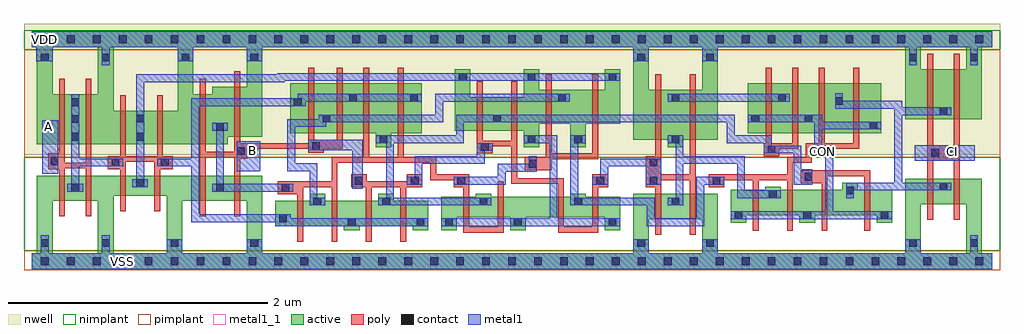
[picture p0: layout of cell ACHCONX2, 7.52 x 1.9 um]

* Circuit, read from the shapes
.subckt ACHCONX2 A B CI CON VDD VSS
M1 n1 A VSS VSS nfet w=0.195u l=0.045u m=2
M2 n2 n1 VSS VSS nfet w=0.155u l=0.045u m=2
M3 n3 B VSS VSS nfet w=0.195u l=0.045u m=2
M4 n4 n3 n1 VSS nfet w=0.195u l=0.045u m=2
M5 n5 B n1 VSS nfet w=0.195u l=0.045u m=2
M6 n5 n3 n2 VSS nfet w=0.155u l=0.045u m=2
M7 n4 B n2 VSS nfet w=0.155u l=0.045u m=2
M8 n6 B VSS VSS nfet w=0.195u l=0.045u m=2
M9 n6 n4 CON VSS nfet w=0.195u l=0.045u m=2
M10 n7 n5 CON VSS nfet w=0.195u l=0.045u m=2
M11 n7 CI VSS VSS nfet w=0.195u l=0.045u m=2
M12 n1 A VDD VDD pfet w=0.385u l=0.045u m=2
M13 n2 n1 VDD VDD pfet w=0.26u l=0.045u m=2
M14 n3 B VDD VDD pfet w=0.385u l=0.045u m=2
M15 n4 B n1 VDD pfet w=0.385u l=0.045u m=2
M16 n5 n3 n1 VDD pfet w=0.385u l=0.045u m=2
M17 n5 B n2 VDD pfet w=0.26u l=0.045u m=2
M18 n4 n3 n2 VDD pfet w=0.26u l=0.045u m=2
M19 n6 B VDD VDD pfet w=0.385u l=0.045u m=2
M20 n6 n5 CON VDD pfet w=0.385u l=0.045u m=2
M21 n7 n4 CON VDD pfet w=0.385u l=0.045u m=2
M22 n7 CI VDD VDD pfet w=0.385u l=0.045u m=2
.ends

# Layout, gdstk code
import gdstk
lib = gdstk.Library(unit=1e-6, precision=5e-10)
def R(c, l, rs):  # rectangles x0, y0, x1, y1
    for r in rs: c.add(gdstk.rectangle(r[:2], r[2:], *l))
def A(c, l, x, y, w, h, nx, ny, dx, dy):  # array of equal rectangles
    R(c, l, [(x+i*dx, y+j*dy, x+i*dx+w, y+j*dy+h) for i in range(nx) for j in range(ny)])
def P(c, l, *ps):  # polygons
    for p in ps: c.add(gdstk.Polygon(p, *l))
active = (1, 0)
nwell = (2, 0)
poly = (3, 0)
nimplant = (4, 0)
pimplant = (5, 0)
contact = (6, 0)
metal1 = (7, 0)
metal1_1 = (7, 1)

achconx2 = lib.new_cell('ACHCONX2')
R(achconx2, active, [(5.515,0.985,6.545,1.37)])
P(achconx2, active, [(0,1.77),(7.4,1.77),(7.4,1.65),(7.32,1.65),(7.32,1.095),(6.73,1.095),(6.73,1.65),(6.85,1.65),(6.85,1.48),(7.2,1.48),(7.2,1.65),(5.285,1.65),(5.285,0.935),(5.02,0.935),(5.02,0.88),(4.9,0.88),(4.9,0.935),(4.635,0.935),(4.635,1.65),(4.755,1.65),(4.755,1.32),(5.165,1.32),(5.165,1.65),(1.775,1.65),(1.775,0.96),(1.51,0.96),(1.51,0.9),(0.04,0.9),(0.04,1.65),(0.16,1.65),(0.16,1.285),(0.51,1.285),(0.51,1.65),(0.63,1.65),(0.63,1.16),(1.125,1.16),(1.125,1.65),(1.245,1.65),(1.245,1.285),(1.39,1.285),(1.39,1.345),(1.655,1.345),(1.655,1.65),(0,1.65)],
  [(1.99,1.37),(3.005,1.37),(3.005,0.985),(2.77,0.985),(2.77,0.88),(2.65,0.88),(2.65,0.985),(1.99,0.985)],
  [(3.26,1.48),(3.38,1.48),(3.38,1.265),(3.79,1.265),(3.79,1.48),(3.91,1.48),(3.91,1.32),(4.415,1.32),(4.415,1.48),(4.535,1.48),(4.535,1.06),(4.27,1.06),(4.27,0.88),(4.15,0.88),(4.15,1.06),(3.91,1.06),(3.91,0.88),(3.79,0.88),(3.79,1.005),(3.26,1.005)],
  [(0.04,0.66),(1.775,0.66),(1.775,0.06),(4.635,0.06),(4.635,0.325),(4.755,0.325),(4.755,0.06),(5.165,0.06),(5.165,0.325),(4.635,0.325),(4.635,0.52),(5.285,0.52),(5.285,0.06),(6.73,0.06),(6.73,0.44),(6.85,0.44),(6.85,0.06),(7.2,0.06),(7.2,0.44),(6.73,0.44),(6.73,0.635),(7.32,0.635),(7.32,0.06),(7.4,0.06),(7.4,-0.06),(0,-0.06),(0,0.06),(0.04,0.06),(0.04,0.465),(0.16,0.465),(0.16,0.06),(0.51,0.06),(0.51,0.465),(0.04,0.465),(0.04,0.505),(0.63,0.505),(0.63,0.06),(1.04,0.06),(1.04,0.465),(1.16,0.465),(1.16,0.06),(1.655,0.06),(1.655,0.465),(1.04,0.465),(1.04,0.505),(0.04,0.505)],
  [(2.14,0.52),(2.26,0.52),(2.26,0.465),(2.67,0.465),(2.67,0.52),(2.79,0.52),(2.79,0.465),(3.055,0.465),(3.055,0.24),(2.935,0.24),(2.935,0.27),(2.525,0.27),(2.525,0.24),(2.405,0.24),(2.405,0.27),(1.875,0.27),(1.875,0.465),(2.14,0.465)],
  [(5.65,0.575),(5.77,0.575),(5.77,0.55),(6.245,0.55),(6.245,0.605),(6.365,0.605),(6.365,0.55),(6.63,0.55),(6.63,0.295),(6.51,0.295),(6.51,0.355),(6.035,0.355),(6.035,0.295),(5.915,0.295),(5.915,0.355),(5.505,0.355),(5.505,0.295),(5.385,0.295),(5.385,0.55),(5.65,0.55)],
  [(3.42,0.52),(3.54,0.52),(3.54,0.495),(4.15,0.495),(4.15,0.52),(4.27,0.52),(4.27,0.495),(4.535,0.495),(4.535,0.24),(4.415,0.24),(4.415,0.34),(3.805,0.34),(3.805,0.24),(3.685,0.24),(3.685,0.34),(3.275,0.34),(3.275,0.24),(3.155,0.24),(3.155,0.495),(3.42,0.495)])
R(achconx2, nwell, [(-0.06,0.82,7.46,1.83)])
P(achconx2, poly, [(0.21,1.405),(0.255,1.405),(0.255,0.76),(0.415,0.76),(0.415,1.405),(0.46,1.405),(0.46,0.345),(0.415,0.345),(0.415,0.715),(0.255,0.715),(0.255,0.345),(0.21,0.345),(0.21,0.71),(0.125,0.71),(0.125,0.83),(0.21,0.83)],
  [(1.295,1.405),(1.34,1.405),(1.34,0.845),(1.56,0.845),(1.56,1.465),(1.605,1.465),(1.605,0.91),(2.13,0.91),(2.13,1.49),(2.175,1.49),(2.175,0.935),(2.35,0.935),(2.35,1.49),(2.395,1.49),(2.395,0.865),(2.25,0.865),(2.25,0.835),(2.13,0.835),(2.13,0.865),(1.66,0.865),(1.66,0.79),(1.605,0.79),(1.605,0.345),(1.56,0.345),(1.56,0.8),(1.34,0.8),(1.34,0.345),(1.295,0.345)],
  [(0.68,1.28),(0.725,1.28),(0.725,0.81),(0.965,0.81),(0.965,1.28),(1.01,1.28),(1.01,0.81),(1.085,0.81),(1.085,0.71),(0.99,0.71),(0.99,0.385),(0.945,0.385),(0.945,0.765),(0.725,0.765),(0.725,0.385),(0.68,0.385),(0.68,0.71),(0.585,0.71),(0.585,0.81),(0.68,0.81)],
  [(2.555,1.49),(2.6,1.49),(2.6,0.805),(2.82,0.805),(2.82,1.49),(2.865,1.49),(2.865,0.805),(3.115,0.805),(3.115,0.67),(3.37,0.67),(3.37,0.265),(3.59,0.265),(3.59,0.615),(3.635,0.615),(3.635,0.22),(3.325,0.22),(3.325,0.57),(3.25,0.57),(3.25,0.625),(3.07,0.625),(3.07,0.76),(2.355,0.76),(2.355,0.15),(2.31,0.15),(2.31,0.57),(2.09,0.57),(2.09,0.15),(2.045,0.15),(2.045,0.515),(1.895,0.515),(1.895,0.615),(2.31,0.615),(2.31,0.805),(2.555,0.805)],
  [(3.43,1.385),(3.475,1.385),(3.475,0.93),(3.695,0.93),(3.695,1.385),(3.74,1.385),(3.74,0.64),(4.1,0.64),(4.1,0.265),(4.32,0.265),(4.32,0.67),(4.44,0.67),(4.44,0.57),(4.365,0.57),(4.365,0.22),(4.055,0.22),(4.055,0.595),(3.695,0.595),(3.695,0.885),(3.55,0.885),(3.55,0.83),(3.43,0.83)],
  [(3.96,1.44),(4.005,1.44),(4.005,0.83),(4.32,0.83),(4.32,1.44),(4.365,1.44),(4.365,0.785),(4.005,0.785),(4.005,0.7),(3.8,0.7),(3.8,0.8),(3.96,0.8)],
  [(5.655,1.49),(5.7,1.49),(5.7,0.91),(5.86,0.91),(5.86,1.49),(5.905,1.49),(5.905,0.865),(5.76,0.865),(5.76,0.81),(5.64,0.81),(5.64,0.91),(5.655,0.91)],
  [(4.805,1.44),(4.85,1.44),(4.85,0.67),(5.07,0.67),(5.07,1.44),(5.115,1.44),(5.115,0.205),(5.07,0.205),(5.07,0.625),(4.85,0.625),(4.85,0.205),(4.805,0.205),(4.805,0.57),(4.73,0.57),(4.73,0.81),(4.805,0.81)],
  [(6.065,1.49),(6.11,1.49),(6.11,0.91),(6.33,0.91),(6.33,1.49),(6.375,1.49),(6.375,0.865),(6.01,0.865),(6.01,0.76),(5.865,0.76),(5.865,0.235),(5.82,0.235),(5.82,0.625),(5.6,0.625),(5.6,0.235),(5.555,0.235),(5.555,0.625),(5.335,0.625),(5.335,0.57),(5.215,0.57),(5.215,0.67),(5.82,0.67),(5.82,0.805),(5.965,0.805),(5.965,0.91),(6.065,0.91)],
  [(6.9,1.6),(6.945,1.6),(6.945,0.895),(7.105,0.895),(7.105,1.6),(7.15,1.6),(7.15,0.32),(7.105,0.32),(7.105,0.775),(6.945,0.775),(6.945,0.32),(6.9,0.32)],
  [(2.46,0.67),(2.58,0.67),(2.58,0.615),(2.89,0.615),(2.89,0.67),(3.01,0.67),(3.01,0.57),(2.885,0.57),(2.885,0.15),(2.84,0.15),(2.84,0.57),(2.62,0.57),(2.62,0.15),(2.575,0.15),(2.575,0.57),(2.46,0.57)],
  [(5.925,0.7),(6.46,0.7),(6.46,0.235),(6.415,0.235),(6.415,0.655),(6.13,0.655),(6.13,0.235),(6.085,0.235),(6.085,0.6),(5.925,0.6)])
R(achconx2, nimplant, [(-0.06,0.08,7.46,0.8), (-0.06,1.63,7.46,1.78)])
R(achconx2, pimplant, [(-0.06,-0.07,7.46,0.08), (-0.06,0.8,7.46,1.63)])
A(achconx2, contact, 0.07, -0.03, 0.06, 0.06, 37, 2, 0.2, 1.71)
R(achconx2, contact, [(0.07,0.11,0.13,0.17), (0.54,0.11,0.6,0.17), (1.07,0.11,1.13,0.17), (1.685,0.11,1.745,0.17), (4.665,0.11,4.725,0.17), (5.195,0.11,5.255,0.17), (6.76,0.11,6.82,0.17), (7.23,0.11,7.29,0.17), (2.435,0.27,2.495,0.33), (2.965,0.27,3.025,0.33), (3.185,0.27,3.245,0.33), (3.715,0.27,3.775,0.33), (4.445,0.27,4.505,0.33), (1.905,0.3,1.965,0.36), (5.415,0.325,5.475,0.385), (5.945,0.325,6.005,0.385), (6.54,0.325,6.6,0.385), (2.17,0.43,2.23,0.49), (2.7,0.43,2.76,0.49), (3.45,0.43,3.51,0.49), (4.18,0.43,4.24,0.49), (4.93,0.43,4.99,0.49), (5.68,0.485,5.74,0.545), (6.275,0.515,6.335,0.575), (0.305,0.535,0.365,0.595), (1.42,0.535,1.48,0.595), (1.925,0.535,1.985,0.595), (6.995,0.545,7.055,0.605), (0.805,0.57,0.865,0.63), (2.49,0.59,2.55,0.65), (2.92,0.59,2.98,0.65), (3.28,0.59,3.34,0.65), (4.35,0.59,4.41,0.65), (4.76,0.59,4.82,0.65), (5.245,0.59,5.305,0.65), (5.955,0.62,6.015,0.68), (3.83,0.72,3.89,0.78), (0.615,0.73,0.675,0.79), (0.995,0.73,1.055,0.79), (4.76,0.73,4.82,0.79), (0.145,0.74,0.205,0.8), (6.93,0.805,6.99,0.865), (7.07,0.805,7.13,0.865), (1.58,0.82,1.64,0.88), (5.67,0.83,5.73,0.89), (3.46,0.85,3.52,0.91), (2.16,0.855,2.22,0.915), (2.68,0.91,2.74,0.97), (3.82,0.91,3.88,0.97), (4.18,0.91,4.24,0.97), (4.93,0.91,4.99,0.97), (0.305,0.93,0.365,0.99), (0.805,0.93,0.865,0.99), (1.42,1.005,1.48,1.065), (6.455,1.015,6.515,1.075), (0.305,1.065,0.365,1.125), (0.805,1.07,0.865,1.13), (2.24,1.07,2.3,1.13), (3.555,1.07,3.615,1.13), (5.545,1.07,5.605,1.13), (5.955,1.07,6.015,1.13), (6.995,1.125,7.055,1.185), (0.305,1.195,0.365,1.255), (2.02,1.195,2.08,1.255), (6.19,1.205,6.25,1.265), (2.445,1.23,2.505,1.29), (2.915,1.23,2.975,1.29), (4.055,1.23,4.115,1.29), (4.93,1.23,4.99,1.29), (5.75,1.23,5.81,1.29), (3.29,1.39,3.35,1.45), (3.82,1.39,3.88,1.45), (4.445,1.39,4.505,1.45), (0.07,1.54,0.13,1.6), (0.54,1.54,0.6,1.6), (1.155,1.54,1.215,1.6), (1.685,1.54,1.745,1.6), (4.665,1.54,4.725,1.6), (5.195,1.54,5.255,1.6), (6.76,1.54,6.82,1.6), (7.23,1.54,7.29,1.6)])
R(achconx2, metal1, [(0.08,0.675,0.205,1.085), (1.58,0.695,1.76,0.925), (6.805,0.775,7.265,0.895), (4.9,1.23,5.84,1.29)])
P(achconx2, metal1, [(2.13,0.935),(2.55,0.935),(2.55,0.56),(2.47,0.56),(2.47,0.855),(2.13,0.855)],
  [(3.43,0.91),(3.55,0.91),(3.55,0.85),(3.49,0.85),(3.49,0.75),(3.01,0.75),(3.01,0.59),(2.89,0.59),(2.89,0.65),(2.95,0.65),(2.95,0.81),(3.43,0.81)],
  [(3.79,0.97),(4.05,0.97),(4.05,0.33),(4.535,0.33),(4.535,0.27),(3.155,0.27),(3.155,0.33),(3.99,0.33),(3.99,0.91),(3.79,0.91)],
  [(4.15,0.97),(4.27,0.97),(4.27,0.91),(4.21,0.91),(4.21,0.49),(4.8,0.49),(4.8,0.33),(5.12,0.33),(5.12,0.65),(5.335,0.65),(5.335,0.59),(5.18,0.59),(5.18,0.27),(4.74,0.27),(4.74,0.43),(4.15,0.43)],
  [(3.83,0.81),(3.89,0.81),(3.89,0.69),(3.65,0.69),(3.65,0.59),(3.25,0.59),(3.25,0.65),(3.59,0.65),(3.59,0.75),(3.83,0.75)],
  [(4.38,0.79),(4.85,0.79),(4.85,0.59),(4.73,0.59),(4.73,0.73),(4.44,0.73),(4.44,0.59),(4.32,0.59),(4.32,0.65),(4.38,0.65)],
  [(5.515,1.13),(6.09,1.13),(6.09,1.075),(6.545,1.075),(6.545,1.015),(6.09,1.015),(6.09,0.895),(6.175,0.895),(6.175,0.385),(6.63,0.385),(6.63,0.325),(5.385,0.325),(5.385,0.385),(6.115,0.385),(6.115,0.815),(6.03,0.815),(6.03,1.07),(5.515,1.07)],
  [(0,1.77),(7.4,1.77),(7.4,1.65),(7.29,1.65),(7.29,1.51),(7.23,1.51),(7.23,1.65),(6.82,1.65),(6.82,1.51),(6.76,1.51),(6.76,1.65),(5.285,1.65),(5.285,1.54),(5.165,1.54),(5.165,1.65),(4.755,1.65),(4.755,1.54),(4.635,1.54),(4.635,1.65),(1.775,1.65),(1.775,1.54),(1.655,1.54),(1.655,1.65),(1.245,1.65),(1.245,1.54),(1.125,1.54),(1.125,1.65),(0.6,1.65),(0.6,1.51),(0.54,1.51),(0.54,1.65),(0.16,1.65),(0.16,1.54),(0.035,1.54),(0.035,1.65),(0,1.65)],
  [(0.305,1.285),(0.365,1.285),(0.365,0.79),(0.705,0.79),(0.705,0.73),(0.365,0.73),(0.365,0.595),(0.395,0.595),(0.395,0.535),(0.275,0.535),(0.275,0.595),(0.305,0.595)],
  [(1.89,1.45),(4.535,1.45),(4.535,1.39),(1.95,1.39),(1.95,1.38),(0.865,1.38),(0.865,0.63),(0.895,0.63),(0.895,0.57),(0.775,0.57),(0.775,0.63),(0.805,0.63),(0.805,1.44),(1.89,1.44)],
  [(6.19,1.295),(6.25,1.295),(6.25,1.235),(6.705,1.235),(6.705,1.185),(7.085,1.185),(7.085,1.125),(6.705,1.125),(6.705,0.605),(7.085,0.605),(7.085,0.545),(6.335,0.545),(6.335,0.485),(6.275,0.485),(6.275,0.605),(6.645,0.605),(6.645,1.175),(6.19,1.175)],
  [(2.05,1.29),(3.005,1.29),(3.005,1.23),(2.11,1.23),(2.11,1.195),(1.29,1.195),(1.29,0.36),(1.995,0.36),(1.995,0.33),(3.055,0.33),(3.055,0.27),(1.875,0.27),(1.875,0.3),(1.23,0.3),(1.23,0.73),(0.965,0.73),(0.965,0.79),(1.23,0.79),(1.23,1.255),(2.05,1.255)],
  [(3.11,1.29),(4.145,1.29),(4.145,1.23),(3.17,1.23),(3.17,1.07),(2.27,1.07),(2.27,1.035),(2.03,1.035),(2.03,0.755),(2.2,0.755),(2.2,0.49),(2.26,0.49),(2.26,0.43),(2.14,0.43),(2.14,0.695),(1.97,0.695),(1.97,1.095),(2.21,1.095),(2.21,1.13),(3.11,1.13)],
  [(3.27,1.13),(5.415,1.13),(5.415,0.97),(5.7,0.97),(5.7,0.89),(5.93,0.89),(5.93,0.71),(6.015,0.71),(6.015,0.59),(5.87,0.59),(5.87,0.83),(5.64,0.83),(5.64,0.91),(5.355,0.91),(5.355,1.07),(3.33,1.07),(3.33,0.91),(2.79,0.91),(2.79,0.49),(3.54,0.49),(3.54,0.43),(2.67,0.43),(2.67,0.49),(2.73,0.49),(2.73,0.91),(2.65,0.91),(2.65,0.97),(3.27,0.97)],
  [(1.39,1.065),(1.51,1.065),(1.51,1.005),(1.48,1.005),(1.48,0.595),(2.015,0.595),(2.015,0.535),(1.39,0.535),(1.39,0.595),(1.42,0.595),(1.42,1.005),(1.39,1.005)],
  [(0.07,0.2),(0.13,0.2),(0.13,0.06),(0.54,0.06),(0.54,0.2),(0.6,0.2),(0.6,0.06),(1.04,0.06),(1.04,0.17),(1.16,0.17),(1.16,0.06),(1.655,0.06),(1.655,0.17),(1.775,0.17),(1.775,0.06),(4.635,0.06),(4.635,0.17),(4.755,0.17),(4.755,0.06),(5.165,0.06),(5.165,0.17),(5.285,0.17),(5.285,0.06),(6.73,0.06),(6.73,0.17),(6.85,0.17),(6.85,0.06),(7.23,0.06),(7.23,0.2),(7.29,0.2),(7.29,0.06),(7.4,0.06),(7.4,-0.06),(0,-0.06),(0,0.06),(0.07,0.06)],
  [(4.9,0.97),(5.02,0.97),(5.02,0.81),(5.495,0.81),(5.495,0.545),(5.77,0.545),(5.77,0.485),(5.435,0.485),(5.435,0.75),(5.02,0.75),(5.02,0.43),(4.9,0.43),(4.9,0.49),(4.96,0.49),(4.96,0.91),(4.9,0.91)])
R(achconx2, metal1_1, [(0.66,-0.04,0.74,0.04), (1.66,0.815,1.74,0.895), (6.06,0.815,6.14,0.895), (7.06,0.815,7.14,0.895), (0.08,1.005,0.16,1.085), (0.06,1.67,0.14,1.75)])
achconx2.add(gdstk.Label('VDD', (0.1,1.71), layer=7, texttype=0))
achconx2.add(gdstk.Label('VSS', (0.7,0), layer=7, texttype=0))
achconx2.add(gdstk.Label('CI', (7.092,0.847), layer=7, texttype=0))
achconx2.add(gdstk.Label('B', (1.7,0.855), layer=7, texttype=0))
achconx2.add(gdstk.Label('A', (0.128,1.037), layer=7, texttype=0))
achconx2.add(gdstk.Label('CON', (6.092,0.847), layer=7, texttype=0))

lib.write_gds('ACHCONX2.gds')
